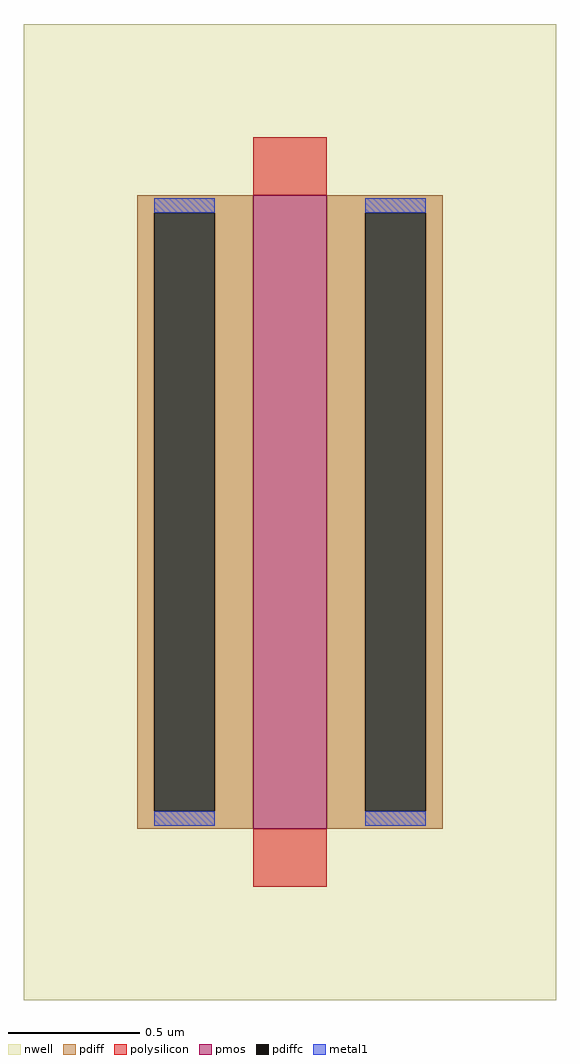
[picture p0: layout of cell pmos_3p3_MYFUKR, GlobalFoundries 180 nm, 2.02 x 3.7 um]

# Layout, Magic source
magic
tech gf180mcuC
magscale 1 10
<< nwell >>
rect -202 -370 202 370
<< pmos >>
rect -28 -240 28 240
<< pdiff >>
rect -116 227 -28 240
rect -116 -227 -103 227
rect -57 -227 -28 227
rect -116 -240 -28 -227
rect 28 227 116 240
rect 28 -227 57 227
rect 103 -227 116 227
rect 28 -240 116 -227
<< pdiffc >>
rect -103 -227 -57 227
rect 57 -227 103 227
<< polysilicon >>
rect -28 240 28 284
rect -28 -284 28 -240
<< metal1 >>
rect -103 227 -57 238
rect -103 -238 -57 -227
rect 57 227 103 238
rect 57 -238 103 -227
<< properties >>
string gencell pmos_3p3
string library gf180mcu
string parameters w 2.4 l 0.280 m 1 nf 1 diffcov 100 polycov 100 guard 0 glc 0 grc 0 gtc 0 gbc 0 tbcov 100 rlcov 100 topc 0 botc 0 poverlap 0 doverlap 1 lmin 0.28 wmin 0.22 full_metal 0 compatible {pmos_3p3 pmos_6p0}
<< end >>
